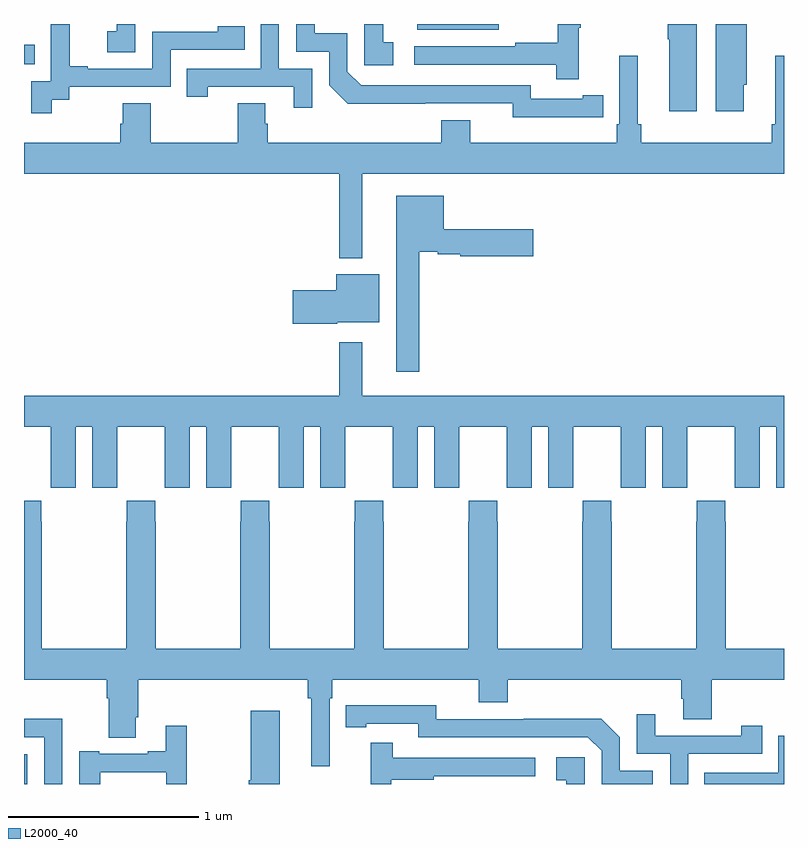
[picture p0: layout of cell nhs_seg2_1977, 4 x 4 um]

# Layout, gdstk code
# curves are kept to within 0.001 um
import gdstk
lib = gdstk.Library(unit=1e-6, precision=1e-09)
def R(c, l, rs):  # rectangles x0, y0, x1, y1
    for r in rs: c.add(gdstk.rectangle(r[:2], r[2:], *l))
def P(c, l, *ps):  # polygons
    for p in ps: c.add(gdstk.Polygon(p, *l))
L2000_40 = (2000, 40)

nhs_seg2_1977 = lib.new_cell('nhs_seg2_1977')
R(nhs_seg2_1977, L2000_40, [(215,601.8,215.017,601.957), (215,605.589,215.057,605.69), (217.07,605.771,217.498,605.8)])
P(nhs_seg2_1977, L2000_40, [(218.542,605.8),(218.389,605.8),(218.389,605.719),(218.396,605.719),(218.396,605.34),(218.542,605.34)],
  [(217.94,605.31),(218.048,605.31),(218.048,605.426),(217.94,605.426),(217.94,605.406),(217.668,605.406),(217.668,605.478),(216.774,605.478),(216.702,605.55),(216.702,605.751),(216.529,605.751),(216.529,605.8),(216.432,605.8),(216.432,605.655),(216.606,605.655),(216.606,605.478),(216.704,605.381),(217.572,605.382),(217.572,605.309)],
  [(218.788,605.481),(218.803,605.481),(218.803,605.8),(218.642,605.8),(218.642,605.34),(218.788,605.34)],
  [(216.943,605.703),(216.89,605.703),(216.89,605.8),(216.792,605.8),(216.792,605.583),(216.943,605.583)],
  [(216.516,605.565),(216.342,605.565),(216.342,605.8),(216.246,605.8),(216.246,605.565),(215.857,605.565),(215.857,605.418),(215.968,605.418),(215.968,605.469),(216.419,605.469),(216.419,605.358),(216.516,605.358)],
  [(215.586,605.8),(215.488,605.8),(215.488,605.761),(215.439,605.761),(215.439,605.652),(215.586,605.652)],
  [(215.146,605.401),(215.238,605.401),(215.238,605.469),(215.772,605.469),(215.772,605.664),(216.161,605.664),(216.161,605.787),(216.021,605.787),(216.021,605.76),(215.676,605.76),(215.676,605.565),(215.335,605.565),(215.335,605.578),(215.24,605.578),(215.24,605.8),(215.141,605.8),(215.141,605.729),(215.142,605.729),(215.142,605.499),(215.037,605.499),(215.037,605.331),(215.146,605.331)],
  [(217.919,605.779),(217.93,605.779),(217.93,605.8),(217.809,605.8),(217.809,605.702),(217.585,605.702),(217.585,605.682),(217.053,605.682),(217.053,605.586),(217.801,605.586),(217.801,605.508),(217.919,605.508)],
  [(219,605.632),(218.954,605.632),(218.954,605.272),(218.935,605.272),(218.935,605.176),(218.249,605.176),(218.249,605.272),(218.23,605.272),(218.23,605.632),(218.133,605.632),(218.133,605.272),(218.12,605.272),(218.12,605.176),(217.348,605.176),(217.348,605.293),(217.196,605.293),(217.196,605.176),(216.284,605.176),(216.284,605.274),(216.271,605.274),(216.271,605.384),(216.124,605.384),(216.124,605.176),(215.667,605.176),(215.667,605.384),(215.519,605.384),(215.519,605.274),(215.507,605.274),(215.507,605.176),(215,605.176),(215,605.012),(216.66,605.012),(216.66,604.568),(216.781,604.568),(216.781,605.012),(219,605.012)],
  [(217.081,604.601),(217.178,604.601),(217.178,604.589),(217.296,604.589),(217.296,604.577),(217.681,604.577),(217.681,604.719),(217.21,604.719),(217.21,604.897),(216.959,604.897),(216.959,603.969),(217.081,603.969)],
  [(216.648,604.229),(216.871,604.229),(216.871,604.483),(216.644,604.483),(216.644,604.4),(216.414,604.4),(216.414,604.222),(216.648,604.222)],
  [(215.272,603.68),(215.36,603.68),(215.36,603.36),(215.49,603.36),(215.49,603.472),(215.491,603.472),(215.491,603.68),(215.741,603.68),(215.741,603.472),(215.742,603.472),(215.742,603.36),(215.872,603.36),(215.872,603.68),(215.96,603.68),(215.96,603.36),(216.09,603.36),(216.09,603.472),(216.091,603.472),(216.091,603.68),(216.341,603.68),(216.341,603.472),(216.342,603.472),(216.342,603.36),(216.472,603.36),(216.472,603.68),(216.56,603.68),(216.56,603.36),(216.69,603.36),(216.69,603.472),(216.691,603.472),(216.691,603.68),(216.941,603.68),(216.941,603.472),(216.942,603.472),(216.942,603.36),(217.072,603.36),(217.072,603.68),(217.16,603.68),(217.16,603.36),(217.29,603.36),(217.29,603.472),(217.291,603.472),(217.291,603.68),(217.541,603.68),(217.541,603.472),(217.542,603.472),(217.542,603.36),(217.672,603.36),(217.672,603.68),(217.76,603.68),(217.76,603.36),(217.89,603.36),(217.89,603.472),(217.891,603.472),(217.891,603.68),(218.141,603.68),(218.141,603.472),(218.142,603.472),(218.142,603.36),(218.272,603.36),(218.272,603.68),(218.36,603.68),(218.36,603.36),(218.49,603.36),(218.49,603.472),(218.491,603.472),(218.491,603.68),(218.741,603.68),(218.741,603.472),(218.742,603.472),(218.742,603.36),(218.872,603.36),(218.872,603.68),(218.96,603.68),(218.96,603.36),(219,603.36),(219,603.844),(216.781,603.844),(216.781,604.126),(216.66,604.126),(216.66,603.844),(215,603.844),(215,603.68),(215.141,603.68),(215.141,603.472),(215.142,603.472),(215.142,603.36),(215.272,603.36)],
  [(216.609,602.252),(216.623,602.252),(216.623,602.348),(217.394,602.348),(217.394,602.231),(217.547,602.231),(217.547,602.348),(218.459,602.348),(218.459,602.25),(218.471,602.25),(218.471,602.14),(218.619,602.14),(218.619,602.348),(219,602.348),(219,602.512),(218.694,602.512),(218.694,603.179),(218.691,603.179),(218.691,603.292),(218.541,603.292),(218.541,603.179),(218.539,603.179),(218.539,602.512),(218.094,602.512),(218.094,603.179),(218.091,603.179),(218.091,603.292),(217.941,603.292),(217.941,603.179),(217.939,603.179),(217.939,602.512),(217.494,602.512),(217.494,603.179),(217.491,603.179),(217.491,603.292),(217.341,603.292),(217.341,603.179),(217.339,603.179),(217.339,602.512),(216.894,602.512),(216.894,603.179),(216.891,603.179),(216.891,603.292),(216.741,603.292),(216.741,603.179),(216.739,603.179),(216.739,602.512),(216.294,602.512),(216.294,603.179),(216.291,603.179),(216.291,603.292),(216.141,603.292),(216.141,603.179),(216.139,603.179),(216.139,602.512),(215.694,602.512),(215.694,603.179),(215.691,603.179),(215.691,603.292),(215.541,603.292),(215.541,603.179),(215.539,603.179),(215.539,602.512),(215.094,602.512),(215.094,603.179),(215.091,603.179),(215.091,603.292),(215,603.292),(215,602.348),(215.435,602.348),(215.435,602.252),(215.447,602.252),(215.447,602.044),(215.587,602.044),(215.587,602.152),(215.6,602.152),(215.6,602.348),(216.493,602.348),(216.493,602.252),(216.512,602.252),(216.512,601.893),(216.609,601.893)],
  [(218.31,601.869),(218.136,601.869),(218.136,602.046),(218.038,602.144),(217.63,602.144),(217.63,602.142),(217.17,602.142),(217.17,602.215),(216.694,602.214),(216.694,602.098),(216.802,602.098),(216.802,602.118),(217.074,602.118),(217.074,602.046),(217.968,602.046),(218.04,601.974),(218.04,601.8),(218.31,601.8)],
  [(216.346,602.185),(216.193,602.185),(216.193,601.821),(216.182,601.821),(216.182,601.8),(216.346,601.8)],
  [(218.496,601.959),(218.885,601.959),(218.885,602.107),(218.774,602.107),(218.774,602.055),(218.323,602.055),(218.323,602.167),(218.226,602.167),(218.226,601.959),(218.4,601.959),(218.4,601.8),(218.496,601.8)],
  [(215.202,602.144),(215,602.144),(215,602.046),(215.106,602.046),(215.106,601.8),(215.202,601.8)],
  [(215.401,601.863),(215.748,601.863),(215.748,601.8),(215.857,601.8),(215.857,602.107),(215.747,602.107),(215.747,601.972),(215.651,601.972),(215.651,601.959),(215.395,601.959),(215.395,601.972),(215.291,601.972),(215.291,601.8),(215.401,601.8)],
  [(219,602.055),(218.97,602.055),(218.97,601.86),(218.581,601.86),(218.581,601.8),(219,601.8)],
  [(216.934,601.822),(217.157,601.822),(217.157,601.842),(217.69,601.842),(217.69,601.938),(216.941,601.938),(216.941,602.017),(216.824,602.017),(216.824,601.8),(216.934,601.8)],
  [(217.95,601.942),(217.8,601.942),(217.8,601.821),(217.853,601.821),(217.853,601.8),(217.95,601.8)])

lib.write_gds('nhs_seg2_1977.gds')
